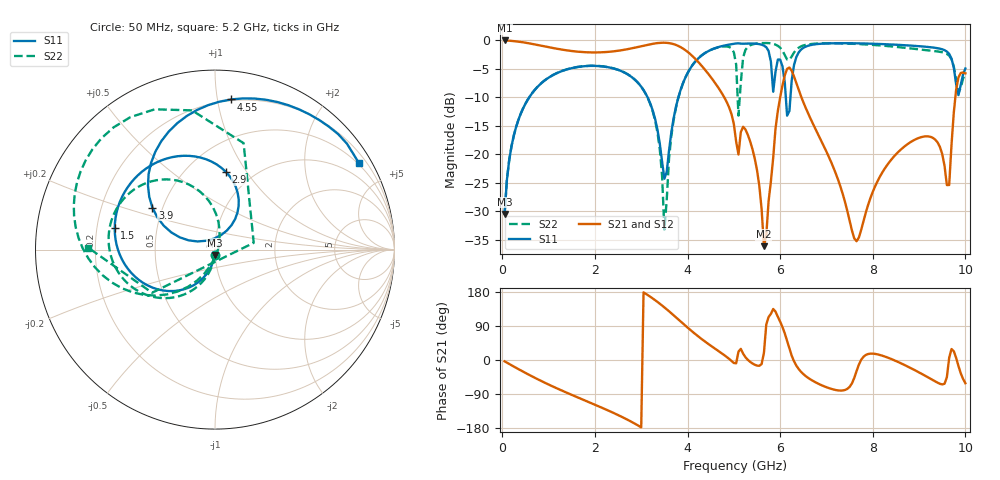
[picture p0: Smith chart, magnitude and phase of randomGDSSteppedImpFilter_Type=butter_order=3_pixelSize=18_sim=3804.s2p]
! freq	dB(S11)	phase(S11)	dB(S12)	phase(S12)
!  dB(S21)	phase(S21)	dB(S22)	phase(S22)
!S-par simulation data
#  GHz  S  DB  R 50
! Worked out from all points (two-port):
!   200 points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, 50 MHz to 10 GHz, reference 50 ohm
!   highest |S21| = -0.01 dB at 50 MHz (marker M1); lowest = -36.1 dB at 5.65 GHz (marker M2)
!   |S21| within 3 dB of the highest: start of sweep to 4.139 GHz
!   lowest |S11| = -30.4 dB at 50 MHz (marker M3), VSWR 1.06, Z = 49.7 - j2.99 ohm
!   |S11| at or under -10 dB: start of sweep to 581.2 MHz; 3.138 GHz to 3.801 GHz (663 MHz wide, 19.1 % of centre); 6.122 GHz to 6.222 GHz (99.48 MHz wide, 1.61 % of centre)
!   |S22| runs from -33.2 to -0.5 dB; largest |S21 - S12| = 0
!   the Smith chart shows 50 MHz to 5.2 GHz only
!   S11 on the Smith chart (normalised r, x): 50 MHz: 0.99, -0.06; 1.5 GHz: 0.28, +0.10; 2.9 GHz: 0.75, +0.81; 3.9 GHz: 0.44, +0.25; 4.55 GHz: 0.19, +1.09; 5.2 GHz: 0.46, +3.55
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0.05  -30.42 -94.0  -0.01 -3.5  -0.01 -3.5  -30.40 -93.3
0.45  -11.91 -124.1  -0.33 -30.8  -0.33 -30.8  -11.90 -118.5
1.5  -4.86 168.0  -1.86 -92.0  -1.86 -92.0  -4.84 -173.1
1.75  -4.54 153.4  -2.05 -105.0  -2.05 -105.0  -4.52 175.7
2.9  -7.17 82.1  -1.20 -170.5  -1.20 -170.5  -7.18 118.5
3.4  -18.06 58.1  -0.43 148.7  -0.43 148.7  -19.00 76.9
3.5  -24.26 96.0  -0.41 138.9  -0.41 138.9  -33.21 25.6
3.9  -7.54 146.2  -1.42 96.3  -1.42 96.3  -7.57 -142.2
4.55  -1.50 83.9  -6.95 33.6  -6.95 33.6  -1.51 158.4
5.05  -0.53 43.1  -17.75 -8.7  -17.75 -8.7  -4.23 75.0
5.1  -0.51 38.7  -20.01 22.1  -20.01 22.1  -13.19 9.9
5.2  -0.58 31.0  -15.15 16.9  -15.15 16.9  -3.01 179.1
5.65  -0.90 -11.7  -36.09 19.1  -36.09 19.1  -0.46 116.1
6.15  -13.20 -137.2  -4.99 50.2  -4.99 50.2  -3.35 88.1
6.3  -4.30 52.8  -6.34 -3.5  -6.34 -3.5  -2.12 95.7
6.7  -0.75 -11.6  -14.49 -54.6  -14.49 -54.6  -0.60 71.5
7.65  -0.51 -67.5  -35.21 -29.3  -35.21 -29.3  -0.62 15.2
8.35  -0.70 -99.7  -21.42 5.1  -21.42 5.1  -1.01 -34.1
9.05  -1.05 -132.8  -16.96 -36.1  -16.96 -36.1  -1.61 -93.1
9.65  -2.37 -177.5  -25.36 6.0  -25.36 6.0  -2.67 -159.8
9.8  -7.64 167.8  -8.65 5.7  -8.65 5.7  -7.02 178.3
10  -4.92 -158.9  -5.77 -61.3  -5.77 -61.3  -5.64 -155.9
